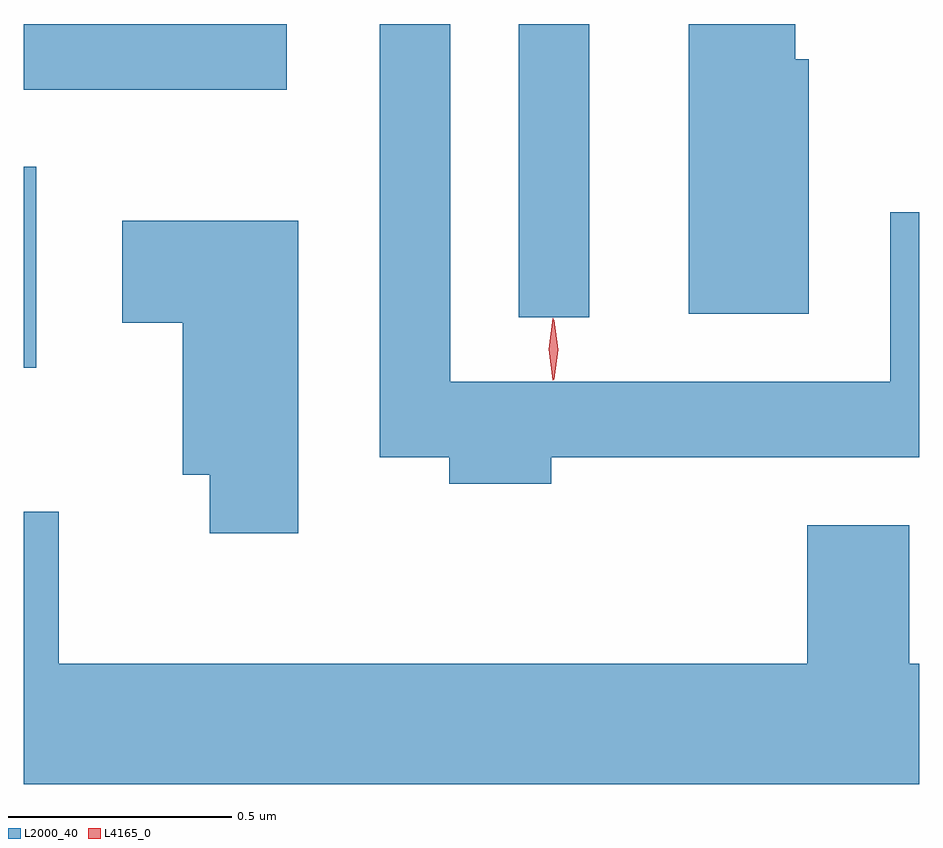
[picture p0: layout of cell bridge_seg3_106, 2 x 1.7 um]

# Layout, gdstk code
import gdstk
lib = gdstk.Library(unit=1e-6, precision=1e-09)
def R(c, l, rs):  # rectangles x0, y0, x1, y1
    for r in rs: c.add(gdstk.rectangle(r[:2], r[2:], *l))
def P(c, l, *ps):  # polygons
    for p in ps: c.add(gdstk.Polygon(p, *l))
L2000_40 = (2000, 40)
L4165_0 = (4165, 0)

bridge_seg3_106 = lib.new_cell('bridge_seg3_106')
R(bridge_seg3_106, L2000_40, [(1008.531,1211.306,1008.559,1211.754), (1009.636,1211.418,1009.794,1212.073), (1008.531,1211.926,1009.119,1212.073)])
P(bridge_seg3_106, L2000_40, [(1010.284,1211.994),(1010.254,1211.994),(1010.254,1212.073),(1010.016,1212.073),(1010.016,1211.426),(1010.284,1211.426)],
  [(1009.709,1211.106),(1010.531,1211.106),(1010.531,1211.653),(1010.466,1211.653),(1010.466,1211.274),(1009.484,1211.274),(1009.484,1212.073),(1009.326,1212.073),(1009.326,1211.106),(1009.481,1211.106),(1009.481,1211.046),(1009.709,1211.046)],
  [(1009.144,1211.634),(1008.751,1211.634),(1008.751,1211.406),(1008.886,1211.406),(1008.886,1211.066),(1008.946,1211.066),(1008.946,1210.936),(1009.144,1210.936)],
  [(1010.531,1210.644),(1010.509,1210.644),(1010.509,1210.954),(1010.281,1210.954),(1010.281,1210.644),(1008.609,1210.644),(1008.609,1210.984),(1008.531,1210.984),(1008.531,1210.376),(1010.531,1210.376)])
P(bridge_seg3_106, L4165_0, [(1009.712,1211.277),(1009.703,1211.347),(1009.712,1211.416),(1009.713,1211.416),(1009.714,1211.416),(1009.723,1211.347),(1009.714,1211.277),(1009.713,1211.277)],
  [(1009.715,1211.28),(1009.715,1211.28),(1009.705,1211.346),(1009.715,1211.412),(1009.715,1211.413),(1009.716,1211.412),(1009.725,1211.346),(1009.716,1211.28)])

lib.write_gds('bridge_seg3_106.gds')
